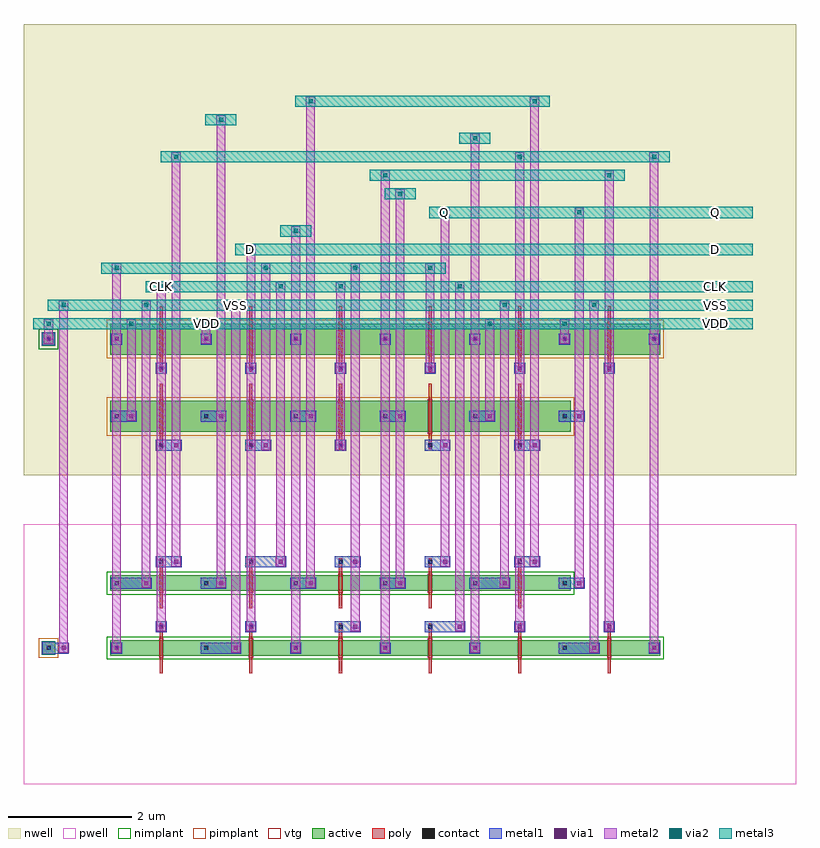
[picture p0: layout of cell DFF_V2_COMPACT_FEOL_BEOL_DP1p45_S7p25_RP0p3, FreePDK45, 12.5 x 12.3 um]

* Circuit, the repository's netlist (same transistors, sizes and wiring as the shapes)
* cell DFF_V2_COMPACT_FEOL_BEOL_DP1p45_S7p25_RP0p3
* pin CLK
* pin D
* pin Q
* pin VDD
* pin VSS
.SUBCKT DFF_V2_COMPACT_FEOL_BEOL_DP1p45_S7p25_RP0p3 3 4 11 12 13
* net 3 CLK
* net 4 D
* net 11 Q
* net 12 VDD
* net 13 VSS
* device instance $1 r0 *1 1.925,7 PMOS_VTG
M$1 12 3 1 12 PMOS_VTG L=0.05U W=0.5U AS=0.4P AD=0.35P PS=2.6U PD=1.9U
* device instance $2 r0 *1 3.375,7 PMOS_VTG
M$2 5 4 12 12 PMOS_VTG L=0.05U W=0.5U AS=0.35P AD=0.35P PS=1.9U PD=1.9U
* device instance $3 r0 *1 4.825,7 PMOS_VTG
M$3 6 3 5 12 PMOS_VTG L=0.05U W=0.5U AS=0.35P AD=0.35P PS=1.9U PD=1.9U
* device instance $4 r0 *1 6.275,7 PMOS_VTG
M$4 2 1 6 12 PMOS_VTG L=0.05U W=0.5U AS=0.35P AD=0.35P PS=1.9U PD=1.9U
* device instance $5 r0 *1 7.725,7 PMOS_VTG
M$5 12 10 2 12 PMOS_VTG L=0.05U W=0.5U AS=0.35P AD=0.35P PS=1.9U PD=1.9U
* device instance $6 r0 *1 9.175,7 PMOS_VTG
M$6 10 6 12 12 PMOS_VTG L=0.05U W=0.5U AS=0.35P AD=0.4P PS=1.9U PD=2.6U
* device instance $7 r0 *1 1.925,5.75 PMOS_VTG
M$7 7 10 12 12 PMOS_VTG L=0.05U W=0.5U AS=0.4P AD=0.35P PS=2.6U PD=1.9U
* device instance $8 r0 *1 3.375,5.75 PMOS_VTG
M$8 8 1 7 12 PMOS_VTG L=0.05U W=0.5U AS=0.35P AD=0.35P PS=1.9U PD=1.9U
* device instance $9 r0 *1 4.825,5.75 PMOS_VTG
M$9 9 3 8 12 PMOS_VTG L=0.05U W=0.5U AS=0.35P AD=0.35P PS=1.9U PD=1.9U
* device instance $10 r0 *1 6.275,5.75 PMOS_VTG
M$10 12 11 9 12 PMOS_VTG L=0.05U W=0.5U AS=0.35P AD=0.35P PS=1.9U PD=1.9U
* device instance $11 r0 *1 7.725,5.75 PMOS_VTG
M$11 11 8 12 12 PMOS_VTG L=0.05U W=0.5U AS=0.35P AD=0.4P PS=1.9U PD=2.6U
* device instance $12 r0 *1 1.925,2 NMOS_VTG
M$12 13 3 1 13 NMOS_VTG L=0.05U W=0.25U AS=0.2P AD=0.175P PS=2.1U PD=1.65U
* device instance $13 r0 *1 3.375,2 NMOS_VTG
M$13 5 4 13 13 NMOS_VTG L=0.05U W=0.25U AS=0.175P AD=0.175P PS=1.65U PD=1.65U
* device instance $14 r0 *1 4.825,2 NMOS_VTG
M$14 6 1 5 13 NMOS_VTG L=0.05U W=0.25U AS=0.175P AD=0.175P PS=1.65U PD=1.65U
* device instance $15 r0 *1 6.275,2 NMOS_VTG
M$15 2 3 6 13 NMOS_VTG L=0.05U W=0.25U AS=0.175P AD=0.175P PS=1.65U PD=1.65U
* device instance $16 r0 *1 7.725,2 NMOS_VTG
M$16 13 10 2 13 NMOS_VTG L=0.05U W=0.25U AS=0.175P AD=0.175P PS=1.65U PD=1.65U
* device instance $17 r0 *1 9.175,2 NMOS_VTG
M$17 10 6 13 13 NMOS_VTG L=0.05U W=0.25U AS=0.175P AD=0.2P PS=1.65U PD=2.1U
* device instance $18 r0 *1 1.925,3.05 NMOS_VTG
M$18 7 10 13 13 NMOS_VTG L=0.05U W=0.25U AS=0.2P AD=0.175P PS=2.1U PD=1.65U
* device instance $19 r0 *1 3.375,3.05 NMOS_VTG
M$19 8 3 7 13 NMOS_VTG L=0.05U W=0.25U AS=0.175P AD=0.175P PS=1.65U PD=1.65U
* device instance $20 r0 *1 4.825,3.05 NMOS_VTG
M$20 9 1 8 13 NMOS_VTG L=0.05U W=0.25U AS=0.175P AD=0.175P PS=1.65U PD=1.65U
* device instance $21 r0 *1 6.275,3.05 NMOS_VTG
M$21 13 11 9 13 NMOS_VTG L=0.05U W=0.25U AS=0.175P AD=0.175P PS=1.65U PD=1.65U
* device instance $22 r0 *1 7.725,3.05 NMOS_VTG
M$22 11 8 13 13 NMOS_VTG L=0.05U W=0.25U AS=0.175P AD=0.2P PS=1.65U PD=2.1U
.ENDS DFF_V2_COMPACT_FEOL_BEOL_DP1p45_S7p25_RP0p3

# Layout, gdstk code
import gdstk
lib = gdstk.Library(unit=1e-6, precision=5e-10)
def R(c, l, rs):  # rectangles x0, y0, x1, y1
    for r in rs: c.add(gdstk.rectangle(r[:2], r[2:], *l))
def A(c, l, x, y, w, h, nx, ny, dx, dy):  # array of equal rectangles
    R(c, l, [(x+i*dx, y+j*dy, x+i*dx+w, y+j*dy+h) for i in range(nx) for j in range(ny)])
active = (1, 0)
pwell = (2, 0)
nwell = (3, 0)
nimplant = (4, 0)
pimplant = (5, 0)
vtg = (6, 0)
poly = (9, 0)
contact = (10, 0)
metal1 = (11, 0)
via1 = (12, 0)
metal2 = (13, 0)
via2 = (14, 0)
metal3 = (15, 0)

dff_v2_compact_feol_beol = lib.new_cell('DFF_V2_COMPACT_FEOL_BEOL_DP1p45_S7p25_RP0p3')
R(dff_v2_compact_feol_beol, active, [(1.1,1.875,10,2.125), (-0.01,1.89,0.21,2.11), (1.1,2.925,8.55,3.175), (1.1,5.5,8.55,6), (1.1,6.75,10,7.25), (-0.01,6.89,0.21,7.11)])
R(dff_v2_compact_feol_beol, pwell, [(-0.3,-0.2,12.2,4)])
R(dff_v2_compact_feol_beol, nwell, [(-0.3,4.8,12.2,12.1)])
R(dff_v2_compact_feol_beol, nimplant, [(1.04,1.815,10.06,2.185), (1.04,2.865,8.61,3.235), (-0.06,6.84,0.26,7.16)])
R(dff_v2_compact_feol_beol, pimplant, [(-0.06,1.84,0.26,2.16), (1.04,5.44,8.61,6.06), (1.04,6.69,10.06,7.31)])
A(dff_v2_compact_feol_beol, vtg, 1.89, 1.845, 0.07, 0.31, 6, 1, 1.45, 0)
A(dff_v2_compact_feol_beol, vtg, 1.89, 2.895, 0.07, 0.31, 5, 1, 1.45, 0)
A(dff_v2_compact_feol_beol, vtg, 1.89, 5.47, 0.07, 0.56, 5, 1, 1.45, 0)
A(dff_v2_compact_feol_beol, vtg, 1.89, 6.72, 0.07, 0.56, 6, 1, 1.45, 0)
A(dff_v2_compact_feol_beol, poly, 1.9, 1.595, 0.05, 0.81, 6, 1, 1.45, 0)
A(dff_v2_compact_feol_beol, poly, 1.9, 2.645, 0.05, 0.81, 5, 1, 1.45, 0)
A(dff_v2_compact_feol_beol, poly, 1.9, 5.22, 0.05, 1.06, 5, 1, 1.45, 0)
A(dff_v2_compact_feol_beol, poly, 1.9, 6.47, 0.05, 1.06, 6, 1, 1.45, 0)
A(dff_v2_compact_feol_beol, contact, 1.17, 1.97, 0.065, 0.065, 7, 2, 1.45, 5)
A(dff_v2_compact_feol_beol, contact, 1.895, 2.315, 0.065, 0.065, 6, 2, 1.45, 4.185)
A(dff_v2_compact_feol_beol, contact, 1.17, 3.02, 0.065, 0.065, 6, 2, 1.45, 2.7)
A(dff_v2_compact_feol_beol, contact, 1.895, 3.365, 0.065, 0.065, 5, 2, 1.45, 1.885)
R(dff_v2_compact_feol_beol, contact, [(0.07,1.97,0.135,2.035), (0.07,6.97,0.135,7.035)])
A(dff_v2_compact_feol_beol, metal1, 2.65, 2.96, 0.24, 0.18, 3, 1, 1.45, 0)
A(dff_v2_compact_feol_beol, metal1, 4.825, 3.305, 0.24, 0.18, 3, 1, 1.45, 0)
A(dff_v2_compact_feol_beol, metal1, 1.2, 5.66, 0.24, 0.18, 6, 1, 1.45, 0)
R(dff_v2_compact_feol_beol, metal1, [(0,1.9,0.2,2.1), (0.1,1.91,0.34,2.09), (0.25,1.91,0.43,2.09), (1.11,1.91,1.29,2.09), (1.11,1.91,1.29,2.09), (2.56,1.91,2.74,2.09), (2.65,1.91,3.13,2.09), (3.04,1.91,3.22,2.09), (4.01,1.91,4.19,2.09), (4.01,1.91,4.19,2.09), (5.46,1.91,5.64,2.09), (5.46,1.91,5.64,2.09), (6.91,1.91,7.09,2.09), (6.91,1.91,7.09,2.09), (8.36,1.91,8.54,2.09), (8.45,1.91,8.93,2.09), (8.84,1.91,9.02,2.09), (9.81,1.91,9.99,2.09), (9.81,1.91,9.99,2.09), (1.835,2.255,2.015,2.435), (1.835,2.255,2.015,2.435), (3.285,2.255,3.465,2.435), (3.285,2.255,3.465,2.435), (4.735,2.255,4.915,2.435), (4.825,2.255,5.065,2.435), (4.975,2.255,5.155,2.435), (6.185,2.255,6.365,2.435), (6.275,2.255,6.755,2.435), (6.665,2.255,6.845,2.435), (7.635,2.255,7.815,2.435), (7.635,2.255,7.815,2.435), (9.085,2.255,9.265,2.435), (9.085,2.255,9.265,2.435), (1.11,2.96,1.29,3.14), (1.2,2.96,1.68,3.14), (1.59,2.96,1.77,3.14), (2.56,2.96,2.74,3.14), (2.8,2.96,2.98,3.14), (4.01,2.96,4.19,3.14), (4.25,2.96,4.43,3.14), (5.46,2.96,5.64,3.14), (5.7,2.96,5.88,3.14), (6.91,2.96,7.09,3.14), (7,2.96,7.48,3.14), (7.39,2.96,7.57,3.14), (8.36,2.96,8.54,3.14), (8.45,2.96,8.69,3.14), (8.6,2.96,8.78,3.14), (1.835,3.305,2.015,3.485), (1.925,3.305,2.165,3.485), (2.075,3.305,2.255,3.485), (3.285,3.305,3.465,3.485), (3.375,3.305,3.855,3.485), (3.765,3.305,3.945,3.485), (4.735,3.305,4.915,3.485), (4.975,3.305,5.155,3.485), (6.185,3.305,6.365,3.485), (6.425,3.305,6.605,3.485), (7.635,3.305,7.815,3.485), (7.875,3.305,8.055,3.485), (1.835,5.19,2.015,5.37), (1.925,5.19,2.165,5.37), (2.075,5.19,2.255,5.37), (3.285,5.19,3.465,5.37), (3.375,5.19,3.615,5.37), (3.525,5.19,3.705,5.37), (4.735,5.19,4.915,5.37), (4.735,5.19,4.915,5.37), (6.185,5.19,6.365,5.37), (6.275,5.19,6.515,5.37), (6.425,5.19,6.605,5.37), (7.635,5.19,7.815,5.37), (7.725,5.19,7.965,5.37), (7.875,5.19,8.055,5.37), (1.11,5.66,1.29,5.84), (1.35,5.66,1.53,5.84), (2.56,5.66,2.74,5.84), (2.8,5.66,2.98,5.84), (4.01,5.66,4.19,5.84), (4.25,5.66,4.43,5.84), (5.46,5.66,5.64,5.84), (5.7,5.66,5.88,5.84), (6.91,5.66,7.09,5.84), (7.15,5.66,7.33,5.84), (8.36,5.66,8.54,5.84), (8.6,5.66,8.78,5.84), (1.835,6.44,2.015,6.62), (1.835,6.44,2.015,6.62), (3.285,6.44,3.465,6.62), (3.285,6.44,3.465,6.62), (4.735,6.44,4.915,6.62), (4.735,6.44,4.915,6.62), (6.185,6.44,6.365,6.62), (6.185,6.44,6.365,6.62), (7.635,6.44,7.815,6.62), (7.635,6.44,7.815,6.62), (9.085,6.44,9.265,6.62), (9.085,6.44,9.265,6.62), (0,6.9,0.2,7.1), (0.01,6.91,0.19,7.09), (1.11,6.91,1.29,7.09), (1.11,6.91,1.29,7.09), (2.56,6.91,2.74,7.09), (2.56,6.91,2.74,7.09), (4.01,6.91,4.19,7.09), (4.01,6.91,4.19,7.09), (5.46,6.91,5.64,7.09), (5.46,6.91,5.64,7.09), (6.91,6.91,7.09,7.09), (6.91,6.91,7.09,7.09), (8.36,6.91,8.54,7.09), (8.36,6.91,8.54,7.09), (9.81,6.91,9.99,7.09), (9.81,6.91,9.99,7.09)])
A(dff_v2_compact_feol_beol, via1, 4.07, 1.97, 0.065, 0.065, 3, 1, 1.45, 0)
A(dff_v2_compact_feol_beol, via1, 3.345, 2.315, 0.065, 0.065, 3, 1, 1.69, 0)
A(dff_v2_compact_feol_beol, via1, 2.86, 3.02, 0.065, 0.065, 3, 1, 1.45, 0)
A(dff_v2_compact_feol_beol, via1, 5.035, 3.365, 0.065, 0.065, 3, 1, 1.45, 0)
A(dff_v2_compact_feol_beol, via1, 1.41, 5.72, 0.065, 0.065, 6, 1, 1.45, 0)
A(dff_v2_compact_feol_beol, via1, 1.895, 6.5, 0.065, 0.065, 6, 1, 1.45, 0)
A(dff_v2_compact_feol_beol, via1, 1.17, 6.97, 0.065, 0.065, 7, 1, 1.45, 0)
R(dff_v2_compact_feol_beol, via1, [(0.31,1.97,0.375,2.035), (1.17,1.97,1.235,2.035), (3.1,1.97,3.165,2.035), (8.9,1.97,8.965,2.035), (9.87,1.97,9.935,2.035), (1.895,2.315,1.96,2.38), (7.695,2.315,7.76,2.38), (9.145,2.315,9.21,2.38), (1.65,3.02,1.715,3.085), (7.45,3.02,7.515,3.085), (8.66,3.02,8.725,3.085), (2.135,3.365,2.2,3.43), (3.825,3.365,3.89,3.43), (2.135,5.25,2.2,5.315), (3.585,5.25,3.65,5.315), (4.795,5.25,4.86,5.315), (6.485,5.25,6.55,5.315), (7.935,5.25,8,5.315), (0.07,6.97,0.135,7.035)])
A(dff_v2_compact_feol_beol, metal2, 4.025, 1.925, 0.15, 0.15, 3, 1, 1.45, 0)
A(dff_v2_compact_feol_beol, metal2, 3.3, 2.27, 0.15, 0.15, 3, 1, 1.69, 0)
A(dff_v2_compact_feol_beol, metal2, 2.815, 2.975, 0.15, 0.15, 3, 1, 1.45, 0)
A(dff_v2_compact_feol_beol, metal2, 4.99, 3.32, 0.15, 0.15, 3, 1, 1.45, 0)
A(dff_v2_compact_feol_beol, metal2, 1.365, 5.675, 0.15, 0.15, 6, 1, 1.45, 0)
A(dff_v2_compact_feol_beol, metal2, 1.85, 6.455, 0.15, 0.15, 6, 1, 1.45, 0)
A(dff_v2_compact_feol_beol, metal2, 1.125, 6.925, 0.15, 0.15, 7, 1, 1.45, 0)
R(dff_v2_compact_feol_beol, metal2, [(0.265,1.925,0.415,2.075), (1.125,1.925,1.275,2.075), (3.055,1.925,3.205,2.075), (8.855,1.925,9.005,2.075), (9.825,1.925,9.975,2.075), (0.27,2,0.41,7.55), (1.13,2,1.27,8.15), (3.06,2,3.2,7.55), (4.03,2,4.17,8.75), (5.48,2,5.62,9.65), (6.93,2,7.07,10.25), (8.86,2,9,7.55), (9.83,2,9.97,9.95), (1.85,2.27,2,2.42), (7.65,2.27,7.8,2.42), (9.1,2.27,9.25,2.42), (1.855,2.345,1.995,7.85), (3.305,2.345,3.445,8.45), (4.995,2.345,5.135,8.15), (6.685,2.345,6.825,7.85), (7.655,2.345,7.795,9.95), (9.105,2.345,9.245,9.65), (1.605,2.975,1.755,3.125), (7.405,2.975,7.555,3.125), (8.615,2.975,8.765,3.125), (1.61,3.05,1.75,7.55), (2.82,3.05,2.96,10.55), (4.27,3.05,4.41,10.85), (5.72,3.05,5.86,9.35), (7.41,3.05,7.55,7.55), (8.62,3.05,8.76,9.05), (2.09,3.32,2.24,3.47), (3.78,3.32,3.93,3.47), (2.095,3.395,2.235,9.95), (3.785,3.395,3.925,7.85), (4.995,3.395,5.135,8.15), (6.445,3.395,6.585,9.05), (7.895,3.395,8.035,10.85), (2.09,5.205,2.24,5.355), (3.54,5.205,3.69,5.355), (4.75,5.205,4.9,5.355), (6.44,5.205,6.59,5.355), (7.89,5.205,8.04,5.355), (2.095,5.28,2.235,9.95), (3.545,5.28,3.685,8.15), (4.755,5.28,4.895,7.85), (6.445,5.28,6.585,9.05), (7.895,5.28,8.035,10.85), (1.37,5.75,1.51,7.25), (2.82,5.75,2.96,10.55), (4.27,5.75,4.41,10.85), (5.72,5.75,5.86,9.35), (7.17,5.75,7.31,7.25), (8.62,5.75,8.76,9.05), (1.855,6.53,1.995,7.85), (3.305,6.53,3.445,8.45), (4.755,6.53,4.895,7.85), (6.205,6.53,6.345,8.15), (7.655,6.53,7.795,9.95), (9.105,6.53,9.245,9.65), (0.025,6.925,0.175,7.075), (0.03,7,0.17,7.25), (1.13,7,1.27,8.15), (2.58,7,2.72,7.25), (4.03,7,4.17,8.75), (5.48,7,5.62,9.65), (6.93,7,7.07,10.25), (8.38,7,8.52,7.25), (9.83,7,9.97,9.95), (0.025,7.175,0.175,7.325), (1.365,7.175,1.515,7.325), (2.575,7.175,2.725,7.325), (7.165,7.175,7.315,7.325), (8.375,7.175,8.525,7.325), (0.265,7.475,0.415,7.625), (1.605,7.475,1.755,7.625), (3.055,7.475,3.205,7.625), (7.405,7.475,7.555,7.625), (8.855,7.475,9.005,7.625), (1.85,7.775,2,7.925), (1.85,7.775,2,7.925), (3.78,7.775,3.93,7.925), (4.75,7.775,4.9,7.925), (4.75,7.775,4.9,7.925), (6.68,7.775,6.83,7.925), (1.125,8.075,1.275,8.225), (1.125,8.075,1.275,8.225), (3.54,8.075,3.69,8.225), (4.99,8.075,5.14,8.225), (4.99,8.075,5.14,8.225), (6.2,8.075,6.35,8.225), (3.3,8.375,3.45,8.525), (3.3,8.375,3.45,8.525), (4.025,8.675,4.175,8.825), (4.025,8.675,4.175,8.825), (6.44,8.975,6.59,9.125), (6.44,8.975,6.59,9.125), (8.615,8.975,8.765,9.125), (8.615,8.975,8.765,9.125), (5.715,9.275,5.865,9.425), (5.715,9.275,5.865,9.425), (5.475,9.575,5.625,9.725), (5.475,9.575,5.625,9.725), (9.1,9.575,9.25,9.725), (9.1,9.575,9.25,9.725), (2.09,9.875,2.24,10.025), (2.09,9.875,2.24,10.025), (7.65,9.875,7.8,10.025), (7.65,9.875,7.8,10.025), (9.825,9.875,9.975,10.025), (9.825,9.875,9.975,10.025), (6.925,10.175,7.075,10.325), (6.925,10.175,7.075,10.325), (2.815,10.475,2.965,10.625), (2.815,10.475,2.965,10.625), (4.265,10.775,4.415,10.925), (4.265,10.775,4.415,10.925), (7.89,10.775,8.04,10.925), (7.89,10.775,8.04,10.925)])
R(dff_v2_compact_feol_beol, via2, [(0.07,7.22,0.135,7.285), (1.41,7.22,1.475,7.285), (2.62,7.22,2.685,7.285), (7.21,7.22,7.275,7.285), (8.42,7.22,8.485,7.285), (0.31,7.52,0.375,7.585), (1.65,7.52,1.715,7.585), (3.1,7.52,3.165,7.585), (7.45,7.52,7.515,7.585), (8.9,7.52,8.965,7.585), (1.895,7.82,1.96,7.885), (1.895,7.82,1.96,7.885), (3.825,7.82,3.89,7.885), (4.795,7.82,4.86,7.885), (4.795,7.82,4.86,7.885), (6.725,7.82,6.79,7.885), (1.17,8.12,1.235,8.185), (1.17,8.12,1.235,8.185), (3.585,8.12,3.65,8.185), (5.035,8.12,5.1,8.185), (5.035,8.12,5.1,8.185), (6.245,8.12,6.31,8.185), (3.345,8.42,3.41,8.485), (3.345,8.42,3.41,8.485), (4.07,8.72,4.135,8.785), (4.07,8.72,4.135,8.785), (6.485,9.02,6.55,9.085), (6.485,9.02,6.55,9.085), (8.66,9.02,8.725,9.085), (8.66,9.02,8.725,9.085), (5.76,9.32,5.825,9.385), (5.76,9.32,5.825,9.385), (5.52,9.62,5.585,9.685), (5.52,9.62,5.585,9.685), (9.145,9.62,9.21,9.685), (9.145,9.62,9.21,9.685), (2.135,9.92,2.2,9.985), (2.135,9.92,2.2,9.985), (7.695,9.92,7.76,9.985), (7.695,9.92,7.76,9.985), (9.87,9.92,9.935,9.985), (9.87,9.92,9.935,9.985), (6.97,10.22,7.035,10.285), (6.97,10.22,7.035,10.285), (2.86,10.52,2.925,10.585), (2.86,10.52,2.925,10.585), (4.31,10.82,4.375,10.885), (4.31,10.82,4.375,10.885), (7.935,10.82,8,10.885), (7.935,10.82,8,10.885)])
R(dff_v2_compact_feol_beol, metal3, [(-0.15,7.16,8.7,7.34), (8.7,7.16,11.5,7.34), (0.025,7.175,0.175,7.325), (1.365,7.175,1.515,7.325), (2.575,7.175,2.725,7.325), (7.165,7.175,7.315,7.325), (8.375,7.175,8.525,7.325), (0.09,7.46,9.18,7.64), (9.18,7.46,11.5,7.64), (0.265,7.475,0.415,7.625), (1.605,7.475,1.755,7.625), (3.055,7.475,3.205,7.625), (7.405,7.475,7.555,7.625), (8.855,7.475,9.005,7.625), (1.675,7.76,7.005,7.94), (7.005,7.76,11.5,7.94), (1.85,7.775,2,7.925), (1.85,7.775,2,7.925), (3.78,7.775,3.93,7.925), (4.75,7.775,4.9,7.925), (4.75,7.775,4.9,7.925), (6.68,7.775,6.83,7.925), (0.95,8.06,6.525,8.24), (1.125,8.075,1.275,8.225), (1.125,8.075,1.275,8.225), (3.54,8.075,3.69,8.225), (4.99,8.075,5.14,8.225), (4.99,8.075,5.14,8.225), (6.2,8.075,6.35,8.225), (3.125,8.36,3.625,8.54), (3.625,8.36,11.5,8.54), (3.3,8.375,3.45,8.525), (3.3,8.375,3.45,8.525), (3.85,8.66,4.35,8.84), (4.025,8.675,4.175,8.825), (4.025,8.675,4.175,8.825), (6.265,8.96,8.94,9.14), (8.94,8.96,11.5,9.14), (6.44,8.975,6.59,9.125), (6.44,8.975,6.59,9.125), (8.615,8.975,8.765,9.125), (8.615,8.975,8.765,9.125), (5.54,9.26,6.04,9.44), (5.715,9.275,5.865,9.425), (5.715,9.275,5.865,9.425), (5.3,9.56,9.425,9.74), (5.475,9.575,5.625,9.725), (5.475,9.575,5.625,9.725), (9.1,9.575,9.25,9.725), (9.1,9.575,9.25,9.725), (1.915,9.86,10.15,10.04), (2.09,9.875,2.24,10.025), (2.09,9.875,2.24,10.025), (7.65,9.875,7.8,10.025), (7.65,9.875,7.8,10.025), (9.825,9.875,9.975,10.025), (9.825,9.875,9.975,10.025), (6.75,10.16,7.25,10.34), (6.925,10.175,7.075,10.325), (6.925,10.175,7.075,10.325), (2.64,10.46,3.14,10.64), (2.815,10.475,2.965,10.625), (2.815,10.475,2.965,10.625), (4.09,10.76,8.215,10.94), (4.265,10.775,4.415,10.925), (4.265,10.775,4.415,10.925), (7.89,10.775,8.04,10.925), (7.89,10.775,8.04,10.925)])
dff_v2_compact_feol_beol.add(gdstk.Label('VDD', (10.9,7.25), layer=15, texttype=0))
dff_v2_compact_feol_beol.add(gdstk.Label('VDD', (10.9,7.25), layer=15, texttype=1))
dff_v2_compact_feol_beol.add(gdstk.Label('VDD', (10.9,7.25), layer=15, texttype=2))
dff_v2_compact_feol_beol.add(gdstk.Label('VDD', (2.65,7.25), layer=13, texttype=0))
dff_v2_compact_feol_beol.add(gdstk.Label('VDD', (2.65,7.25), layer=13, texttype=1))
dff_v2_compact_feol_beol.add(gdstk.Label('VDD', (2.65,7.25), layer=13, texttype=2))
dff_v2_compact_feol_beol.add(gdstk.Label('VSS', (10.9,7.55), layer=15, texttype=0))
dff_v2_compact_feol_beol.add(gdstk.Label('VSS', (10.9,7.55), layer=15, texttype=1))
dff_v2_compact_feol_beol.add(gdstk.Label('VSS', (10.9,7.55), layer=15, texttype=2))
dff_v2_compact_feol_beol.add(gdstk.Label('VSS', (3.13,7.55), layer=13, texttype=0))
dff_v2_compact_feol_beol.add(gdstk.Label('VSS', (3.13,7.55), layer=13, texttype=1))
dff_v2_compact_feol_beol.add(gdstk.Label('VSS', (3.13,7.55), layer=13, texttype=2))
dff_v2_compact_feol_beol.add(gdstk.Label('CLK', (10.9,7.85), layer=15, texttype=0))
dff_v2_compact_feol_beol.add(gdstk.Label('CLK', (10.9,7.85), layer=15, texttype=1))
dff_v2_compact_feol_beol.add(gdstk.Label('CLK', (10.9,7.85), layer=15, texttype=2))
dff_v2_compact_feol_beol.add(gdstk.Label('CLK', (1.925,7.85), layer=13, texttype=0))
dff_v2_compact_feol_beol.add(gdstk.Label('CLK', (1.925,7.85), layer=13, texttype=1))
dff_v2_compact_feol_beol.add(gdstk.Label('CLK', (1.925,7.85), layer=13, texttype=2))
dff_v2_compact_feol_beol.add(gdstk.Label('D', (10.9,8.45), layer=15, texttype=0))
dff_v2_compact_feol_beol.add(gdstk.Label('D', (10.9,8.45), layer=15, texttype=1))
dff_v2_compact_feol_beol.add(gdstk.Label('D', (10.9,8.45), layer=15, texttype=2))
dff_v2_compact_feol_beol.add(gdstk.Label('D', (3.375,8.45), layer=13, texttype=0))
dff_v2_compact_feol_beol.add(gdstk.Label('D', (3.375,8.45), layer=13, texttype=1))
dff_v2_compact_feol_beol.add(gdstk.Label('D', (3.375,8.45), layer=13, texttype=2))
dff_v2_compact_feol_beol.add(gdstk.Label('Q', (10.9,9.05), layer=15, texttype=0))
dff_v2_compact_feol_beol.add(gdstk.Label('Q', (10.9,9.05), layer=15, texttype=1))
dff_v2_compact_feol_beol.add(gdstk.Label('Q', (10.9,9.05), layer=15, texttype=2))
dff_v2_compact_feol_beol.add(gdstk.Label('Q', (6.515,9.05), layer=13, texttype=0))
dff_v2_compact_feol_beol.add(gdstk.Label('Q', (6.515,9.05), layer=13, texttype=1))
dff_v2_compact_feol_beol.add(gdstk.Label('Q', (6.515,9.05), layer=13, texttype=2))

lib.write_gds('DFF_V2_COMPACT_FEOL_BEOL_DP1p45_S7p25_RP0p3.gds')
